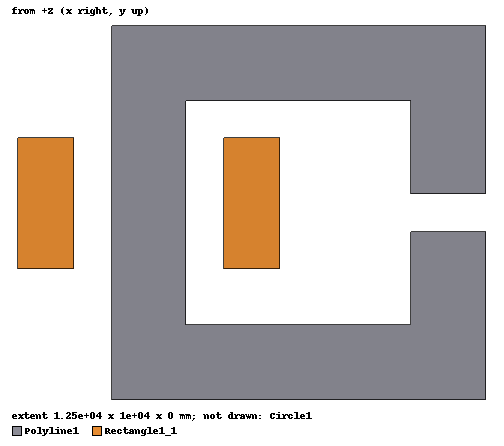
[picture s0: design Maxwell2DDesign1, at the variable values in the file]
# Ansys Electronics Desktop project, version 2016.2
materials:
  vacuum: permittivity=1
  iron: permeability=4000 conductivity=10300000
  copper: permeability=0.999991 conductivity=58000000
  air: permittivity=1.0006 permeability=1.0000004

design Maxwell2DDesign1 (Maxwell 2D, Magnetostatic, XY geometry, model units mm)
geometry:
  Polyline1 [iron] = polyline(z=0mm, xy in mm: (7500, 37500) (7500, 27500) (17500, 27500) (17500, 32000) (15500, 32000) (15500, 29500) (9500, 29500) (9500, 35500) (15500, 35500) (15500, 33000) (17500, 33000) (17500, 37500) (7500, 37500), closed, covered)
  Rectangle1 = rectangle(corner=(5000mm, 34500mm, 0mm), x_size=1500mm, y_size=-3500mm)
  Rectangle1_1 [copper] = Rectangle1.duplicate_mirror(point=(8500mm, 32500mm, 0mm), normal=(1mm, 0mm, 0mm))
  Rectangle1_1.unite(Rectangle1)
  Circle1 [air] = circle(normal=Z, centre=(12500mm, 32500mm, 0mm), radius=13901.439mm)
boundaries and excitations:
  Balloon1: Balloon Edges=Circle1.edge(1 of 1)
  Current3: Current Objects=Rectangle1_1 Current=12kA IsPositive=false
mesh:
  initial mesh: MeshMethod=AnsoftClassic
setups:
  Setup1: Magnetostatic MaximumPasses=10 MinimumPasses=2 MinimumConvergedPasses=1 PercentRefinement=30 PercentError=1 NonLinearResidual=0.0001
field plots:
  Mag_B1: B over Polyline1 on Setup1 : LastAdaptive
